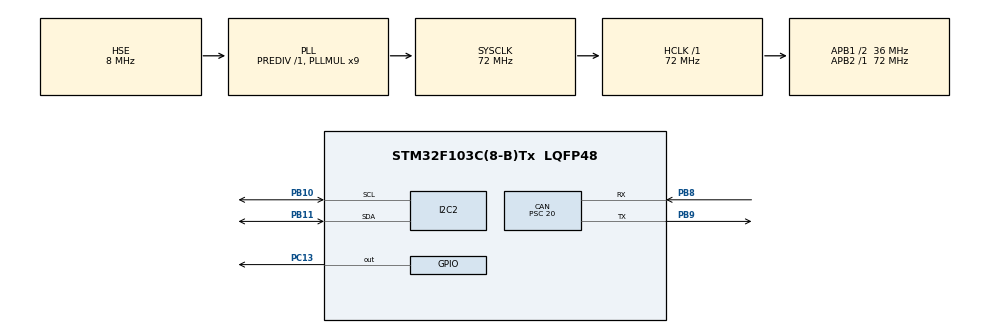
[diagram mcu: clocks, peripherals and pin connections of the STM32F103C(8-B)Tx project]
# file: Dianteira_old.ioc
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CAN.BS1=CAN_BS1_15TQ
CAN.BS2=CAN_BS2_2TQ
CAN.CalculateBaudRate=100000
CAN.CalculateTimeBit=10000
CAN.CalculateTimeQuantum=555.5555555555555
CAN.Prescaler=20
Mcu.Family=STM32F1
Mcu.Name=STM32F103C(8-B)Tx
Mcu.Package=LQFP48
NVIC.PriorityGroup=NVIC_PRIORITYGROUP_4
NVIC.USB_LP_CAN1_RX0_IRQn=true\:0\:0\:false\:false\:true\:true\:true\:true
PA13.Mode=Serial_Wire
PA13.Signal=SYS_JTMS-SWDIO
PA14.Mode=Serial_Wire
PA14.Signal=SYS_JTCK-SWCLK
PB10.Mode=I2C
PB10.Signal=I2C2_SCL
PB11.Mode=I2C
PB11.Signal=I2C2_SDA
PB8.Mode=CAN_Activate
PB8.Signal=CAN_RX
PB9.Mode=CAN_Activate
PB9.Signal=CAN_TX
PC13-TAMPER-RTC.Signal=GPIO_Output
PD0-OSC_IN.Mode=HSE-External-Oscillator
PD0-OSC_IN.Signal=RCC_OSC_IN
PD1-OSC_OUT.Mode=HSE-External-Oscillator
PD1-OSC_OUT.Signal=RCC_OSC_OUT
ProjectManager.HeapSize=0x200
ProjectManager.StackSize=0x400
ProjectManager.TargetToolchain=Makefile
RCC.AHBFreq_Value=72000000
RCC.APB1CLKDivider=RCC_HCLK_DIV2
RCC.APB1Freq_Value=36000000
RCC.APB1TimFreq_Value=72000000
RCC.APB2Freq_Value=72000000
RCC.APB2TimFreq_Value=72000000
RCC.HCLKFreq_Value=72000000
RCC.PLLMUL=RCC_PLL_MUL9
RCC.PLLSourceVirtual=RCC_PLLSOURCE_HSE
RCC.SYSCLKFreq_VALUE=72000000
RCC.SYSCLKSource=RCC_SYSCLKSOURCE_PLLCLK
RCC.USBFreq_Value=72000000
board=custom

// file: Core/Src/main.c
/* USER CODE BEGIN Header */
/**
  ******************************************************************************
  * @file           : main.c
  * @brief          : Main program body
  ******************************************************************************
  * @attention
  *
  * Copyright (c) 2024 STMicroelectronics.
  * All rights reserved.
  *
  * This software is licensed under terms that can be found in the LICENSE file
  * in the root directory of this software component.
  * If no LICENSE file comes with this software, it is provided AS-IS.
  *
  ******************************************************************************
  */
/* USER CODE END Header */
#include "main.h"
#include "can.h"
#include "i2c.h"
#include "gpio.h"

/* USER CODE BEGIN Includes */
#include "msg.h"
#include "lcd.h"
/* USER CODE END Includes */

/* USER CODE BEGIN PV */
uint8_t datacheck;
extern CAN_TxHeaderTypeDef txheader;
extern CAN_FilterTypeDef can_filter;
extern uint32_t txmailbox;

extern CAN_RxHeaderTypeDef rxheader;
extern uint8_t rxdata[8];

uint8_t txdata[8];
/* USER CODE END PV */

void SystemClock_Config(void);
/* USER CODE BEGIN PFP */
void HAL_CAN_RxFifo0MsgPendingCallback(CAN_HandleTypeDef* hcan1) {
  HAL_CAN_GetRxMessage(&hcan, CAN_RX_FIFO0, &rxheader, rxdata);
  datacheck = 1;

  HAL_GPIO_TogglePin(GPIOC, GPIO_PIN_13);
}
/* USER CODE END PFP */

int main(void)
{

  /* MCU Configuration--------------------------------------------------------*/

  /* Reset of all peripherals, Initializes the Flash interface and the Systick. */
  HAL_Init();

  /* Configure the system clock */
  SystemClock_Config();

  /* Initialize all configured peripherals */
  MX_GPIO_Init();
  MX_CAN_Init();
  MX_I2C2_Init();
  /* USER CODE BEGIN 2 */
  lcd_init();
  HAL_Delay(10);

  HAL_CAN_Start(&hcan);
  HAL_CAN_ActivateNotification(&hcan, CAN_IT_RX_FIFO0_MSG_PENDING);

  lcd_send_string("Hello world!");

  msg_rpm rpm;
  msg_adc adc;
  msg_tempcvt tempcvt;

  txheader.DLC = 8;
  txheader.IDE = CAN_ID_STD;
  txheader.RTR = CAN_RTR_DATA;
  txheader.StdId = 0x1;

  txdata[0] = 10;
  txdata[1] = 20;
  txdata[3] = 30;
  txdata[4] = 40;
  txdata[5] = 50;
  txdata[6] = 60;
  txdata[7] = 70;
  txdata[2] = 80;
  /* USER CODE END 2 */

  /* Infinite loop */
  while (1)
  {
    //HAL_CAN_AddTxMessage(&hcan, &txheader, txdata, &txmailbox);
    if (datacheck) {
      lcd_clear();
      switch (rxheader.StdId) {
        case MSG_RPM :
          rpm = *(msg_rpm*) rxdata;
          break;
        case MSG_ADC1:
          adc = *(msg_adc*) rxdata;
          break;
        case MSG_ADC2:
          break;
        case MSG_TEMPERATURE:
          tempcvt = *(msg_tempcvt*) rxdata;
      }

      char buf[16];

      //maybe sprintf with floats doesn't even wrok, have to test

      sprintf(buf, "rpm %3.2f", rpm.rpm);
      lcd_put_cur(0, 0);
      lcd_send_string(buf);

      sprintf(buf, " adc %3.2f", adc.val1);
      lcd_send_string(buf);

      sprintf(buf, "cvt %3.2f", tempcvt.temp);
      lcd_put_cur(1, 0);
      lcd_send_string(buf);
      datacheck = 0;
    }

    HAL_Delay(100);
  }
}

void SystemClock_Config(void)
{
  RCC_OscInitTypeDef RCC_OscInitStruct = {0};
  RCC_ClkInitTypeDef RCC_ClkInitStruct = {0};

  /** Initializes the RCC Oscillators according to the specified parameters
  * in the RCC_OscInitTypeDef structure.
  */
  RCC_OscInitStruct.OscillatorType = RCC_OSCILLATORTYPE_HSE;
  RCC_OscInitStruct.HSEState = RCC_HSE_ON;
  RCC_OscInitStruct.HSEPredivValue = RCC_HSE_PREDIV_DIV1;
  RCC_OscInitStruct.HSIState = RCC_HSI_ON;
  RCC_OscInitStruct.PLL.PLLState = RCC_PLL_ON;
  RCC_OscInitStruct.PLL.PLLSource = RCC_PLLSOURCE_HSE;
  RCC_OscInitStruct.PLL.PLLMUL = RCC_PLL_MUL9;
  if (HAL_RCC_OscConfig(&RCC_OscInitStruct) != HAL_OK)
  {
    Error_Handler();
  }

  /** Initializes the CPU, AHB and APB buses clocks
  */
  RCC_ClkInitStruct.ClockType = RCC_CLOCKTYPE_HCLK|RCC_CLOCKTYPE_SYSCLK
                              |RCC_CLOCKTYPE_PCLK1|RCC_CLOCKTYPE_PCLK2;
  RCC_ClkInitStruct.SYSCLKSource = RCC_SYSCLKSOURCE_PLLCLK;
  RCC_ClkInitStruct.AHBCLKDivider = RCC_SYSCLK_DIV1;
  RCC_ClkInitStruct.APB1CLKDivider = RCC_HCLK_DIV2;
  RCC_ClkInitStruct.APB2CLKDivider = RCC_HCLK_DIV1;

  if (HAL_RCC_ClockConfig(&RCC_ClkInitStruct, FLASH_LATENCY_2) != HAL_OK)
  {
    Error_Handler();
  }
}

void Error_Handler(void)
{
  __disable_irq();
  while (1)
  {
  }
}
